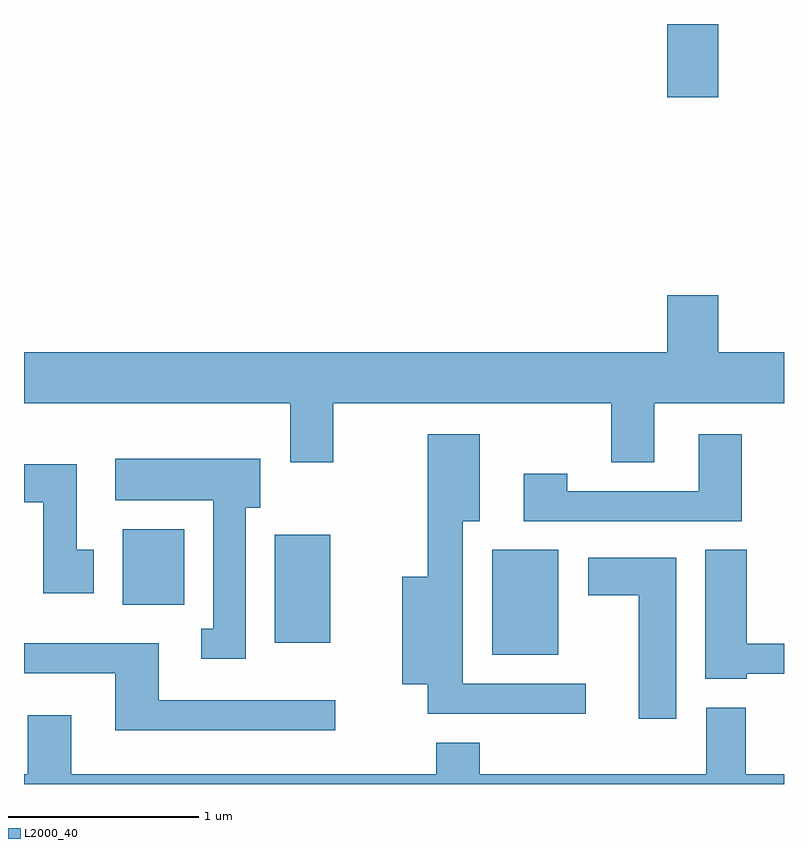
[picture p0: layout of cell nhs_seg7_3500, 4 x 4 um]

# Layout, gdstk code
import gdstk
lib = gdstk.Library(unit=1e-6, precision=1e-09)
def R(c, l, rs):  # rectangles x0, y0, x1, y1
    for r in rs: c.add(gdstk.rectangle(r[:2], r[2:], *l))
def P(c, l, *ps):  # polygons
    for p in ps: c.add(gdstk.Polygon(p, *l))
L2000_40 = (2000, 40)

nhs_seg7_3500 = lib.new_cell('nhs_seg7_3500')
R(nhs_seg7_3500, L2000_40, [(294.076,1772.931,294.424,1773.484), (292.931,1772.996,293.224,1773.564), (292.131,1773.196,292.454,1773.594), (294.996,1775.866,295.264,1776.252)])
P(nhs_seg7_3500, L2000_40, [(293.239,1774.256),(294.701,1774.256),(294.701,1773.946),(294.929,1773.946),(294.929,1774.256),(295.611,1774.256),(295.611,1774.524),(295.264,1774.524),(295.264,1774.824),(294.996,1774.824),(294.996,1774.524),(291.611,1774.524),(291.611,1774.256),(293.011,1774.256),(293.011,1773.946),(293.239,1773.946)],
  [(294.568,1772.779),(293.919,1772.779),(293.919,1773.636),(294.009,1773.636),(294.009,1774.094),(293.736,1774.094),(293.736,1773.344),(293.601,1773.344),(293.601,1772.776),(293.736,1772.776),(293.736,1772.621),(294.568,1772.621)],
  [(295.389,1774.094),(295.161,1774.094),(295.161,1773.794),(294.469,1773.794),(294.469,1773.884),(294.241,1773.884),(294.241,1773.636),(295.389,1773.636)],
  [(292.779,1773.706),(292.854,1773.706),(292.854,1773.964),(292.091,1773.964),(292.091,1773.746),(292.606,1773.746),(292.606,1773.069),(292.543,1773.069),(292.543,1772.911),(292.779,1772.911)],
  [(291.979,1773.484),(291.889,1773.484),(291.889,1773.934),(291.611,1773.934),(291.611,1773.736),(291.711,1773.736),(291.711,1773.256),(291.979,1773.256)],
  [(295.414,1772.831),(295.611,1772.831),(295.611,1772.989),(295.414,1772.989),(295.414,1773.484),(295.196,1773.484),(295.196,1772.806),(295.414,1772.806)],
  [(295.044,1773.444),(294.581,1773.444),(294.581,1773.246),(294.846,1773.246),(294.846,1772.596),(295.044,1772.596)],
  [(293.248,1772.694),(292.319,1772.694),(292.319,1772.994),(291.611,1772.994),(291.611,1772.836),(292.091,1772.836),(292.091,1772.536),(293.248,1772.536)],
  [(295.611,1772.304),(295.409,1772.304),(295.409,1772.654),(295.201,1772.654),(295.201,1772.304),(294.009,1772.304),(294.009,1772.469),(293.781,1772.469),(293.781,1772.304),(291.859,1772.304),(291.859,1772.614),(291.631,1772.614),(291.631,1772.304),(291.611,1772.304),(291.611,1772.252),(295.611,1772.252)])

lib.write_gds('nhs_seg7_3500.gds')
